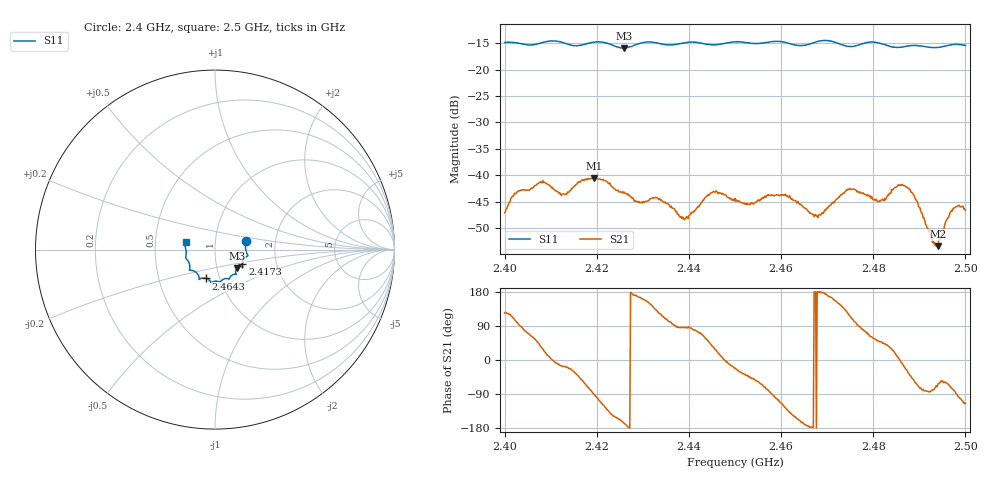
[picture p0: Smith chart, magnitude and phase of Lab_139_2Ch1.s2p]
# Hz S RI R 50
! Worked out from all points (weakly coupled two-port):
!   601 points, 2.4 GHz to 2.5 GHz, reference 50 ohm
!   highest |S21| = -40.50 dB at 2.4193 GHz (marker M1); lowest = -53.4 dB at 2.494 GHz (marker M2)
!   lowest |S11| = -15.9 dB at 2.4258 GHz (marker M3), VSWR 1.38, Z = 62.3 - j13.3 ohm
!   |S11| at or under -10 dB: start of sweep to end of sweep
!   S12 and S22 are empty: the file has one direction only
!   S11 on the Smith chart (normalised r, x): 2.4 GHz: 1.41, +0.14; 2.4173 GHz: 1.34, -0.23; 2.4643 GHz: 0.86, -0.29; 2.5 GHz: 0.72, +0.06
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2.4e9  0.1734 0.0492  -0.00247 0.00366  0 0  0 0
2.402667e9  0.1749 0.037  -0.00112 0.00679  0 0  0 0
2.407833e9  0.1769 -0.0195  0.00703 0.0051  0 0  0 0
2.412833e9  0.1745 -0.04  0.00636 -0.00195  0 0  0 0
2.416667e9  0.1531 -0.0742  0.00556 -0.00694  0 0  0 0
2.417333e9  0.1525 -0.0817  0.00442 -0.00802  0 0  0 0
2.419333e9  0.154 -0.0961  0.000157 -0.00944  0 0  0 0
2.425833e9  0.1215 -0.1037  -0.0066 -0.00162  0 0  0 0
2.433333e9  0.1126 -0.1369  -0.00347 0.00489  0 0  0 0
2.438833e9  0.0809 -0.1587  0.000332 0.00391  0 0  0 0
2.445333e9  0.0531 -0.1627  0.00585 0.00391  0 0  0 0
2.45e9  0.029 -0.1806  0.00563 -0.00218  0 0  0 0
2.4605e9  -0.0244 -0.1809  -0.00326 -0.00559  0 0  0 0
2.464333e9  -0.0499 -0.1608  -0.00502 -0.00146  0 0  0 0
2.466667e9  -0.076 -0.1598  -0.00433 -0.000187  0 0  0 0
2.474833e9  -0.1047 -0.1276  -0.00343 0.00665  0 0  0 0
2.481e9  -0.1421 -0.1094  0.00359 0.00434  0 0  0 0
2.483333e9  -0.1405 -0.0901  0.00523 0.0038  0 0  0 0
2.4875e9  -0.1581 -0.0535  0.00638 -0.00406  0 0  0 0
2.494e9  -0.1617 -0.00155  0.000897 -0.00194  0 0  0 0
2.497167e9  -0.1698 0.0273  0.00107 -0.00445  0 0  0 0
2.5e9  -0.1635 0.0419  -0.00196 -0.00421  0 0  0 0
